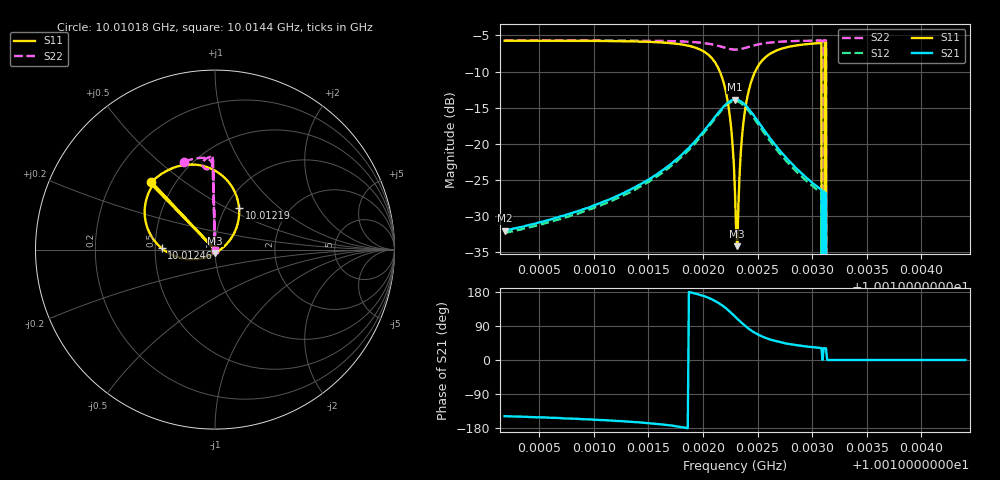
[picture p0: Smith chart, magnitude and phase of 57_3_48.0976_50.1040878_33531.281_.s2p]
#  HZ  S  RI  R  50.00
! Rohde & Schwarz Vector Network Analyzer
! Rohde-Schwarz,ZNB20-2Port,1311601062101988,3.16
! Created: UTC 12/23/2023, 3:40:23 AM
! freq[Hz]  re:S11  im:S11  re:S21  im:S21  re:S12  im:S12  re:S22  im:S22
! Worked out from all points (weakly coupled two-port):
!   401 points, 10.01018 GHz to 10.0144 GHz, reference 50 ohm
!   highest |S21| = -13.87 dB at 10.01229 GHz (marker M1); lowest = -32.0 dB at 10.01018 GHz (marker M2)
!   lowest |S11| = -34.2 dB at 10.01231 GHz (marker M3), VSWR 1.04, Z = 50.1 - j1.96 ohm
!   |S11| at or under -10 dB: 10.01215 GHz to 10.01248 GHz (323.1 kHz wide, 0.00323 % of centre); 10.01308 GHz to 10.01312 GHz (31.19 kHz wide, 0.000312 % of centre); 10.01313 GHz to end of sweep
!   |S22| runs from - to -5.7 dB; largest |S21 - S12| = 0.0091
!   S11 on the Smith chart (normalised r, x): 10.01018 GHz: 0.37, +0.38; 10.01219 GHz: 1.16, +0.58; 10.01246 GHz: 0.54, +0.01; 10.0144 GHz: 1.00, +0.00
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1.0010185e10  -0.3543 0.3765  -0.0213 -0.0132  -0.0198 -0.0137  -0.17 0.4905
1.0010891e10  -0.298 0.4216  -0.0319 -0.0142  -0.03 -0.0153  -0.1233 0.5044
1.0011598e10  -0.1871 0.4685  -0.0619 -0.0119  -0.059 -0.0146  -0.0696 0.5116
1.0011988e10  -0.00839 0.4443  -0.1156 0.0192  -0.113 0.0121  -0.0293 0.4998
1.0012188e10  0.134 0.2313  -0.1417 0.1119  -0.1433 0.1036  -0.0174 0.4657
1.0012251e10  0.1086 0.095  -0.1168 0.1596  -0.1203 0.1521  -0.0272 0.4518
1.0012293e10  0.0448 0.0113  -0.0841 0.1842  -0.0888 0.1766  -0.0386 0.4472
1.0012314e10  0.00156 -0.0195  -0.0649 0.191  -0.0697 0.1841  -0.0451 0.4471
1.0012378e10  -0.1459 -0.0532  -0.00747 0.1887  -0.0118 0.1826  -0.0612 0.455
1.0012462e10  -0.2968 0.00719  0.0437 0.1524  0.0376 0.1473  -0.0691 0.474
1.0012631e10  -0.3894 0.1745  0.0641 0.0838  0.0579 0.082  -0.0575 0.5004
1.0013e10  -0.359 0.3388  0.0445 0.0302  0.0411 0.0307  -0.0218 0.5177
1.0013063e10  -0.3509 0.353  0.0418 0.0262  0.0385 0.0269  -0.0163 0.5188
1.0013074e10  -0.3497 0.3552  0.0413 0.0257  0.038 0.0264  -0.0155 0.5189
1.0013084e10  -0.3483 0.3573  0.0409 0.0252  0.0376 0.0258  -0.0146 0.5191
1.0013105e10  0 0  0.04 0.0243  0.0369 0.0249  -0.0128 0.5194
1.0013116e10  -0.3442 0.3634  0.0394 0.0237  0.0364 0.0243  -0.012 0.5194
1.0013126e10  -0.343 0.3653  0.0392 0.0231  0.0361 0.0238  -0.0112 0.5194
1.0013137e10  0 0  0 0  0 0  0 0
1.0013158e10  0 0  0 0  0 0  0 0
1.0013706e10  0 0  0 0  0 0  0 0
1.0014402e10  0 0  0 0  0 0  0 0
